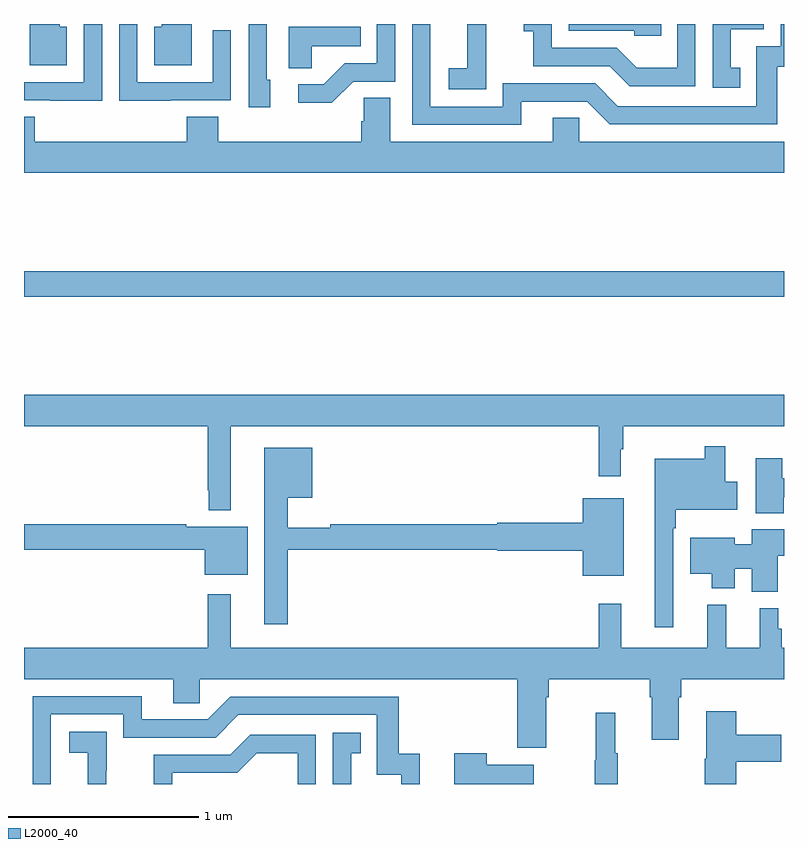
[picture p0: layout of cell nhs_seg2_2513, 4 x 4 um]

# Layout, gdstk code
import gdstk
lib = gdstk.Library(unit=1e-6, precision=1e-09)
def R(c, l, rs):  # rectangles x0, y0, x1, y1
    for r in rs: c.add(gdstk.rectangle(r[:2], r[2:], *l))
def P(c, l, *ps):  # polygons
    for p in ps: c.add(gdstk.Polygon(p, *l))
L2000_40 = (2000, 40)

nhs_seg2_2513 = lib.new_cell('nhs_seg2_2513')
R(nhs_seg2_2513, L2000_40, [(243,600.364,247,600.5)])
P(nhs_seg2_2513, L2000_40, [(246.77,601.569),(246.721,601.569),(246.721,601.773),(246.894,601.773),(246.894,601.8),(246.624,601.8),(246.624,601.464),(246.77,601.464)],
  [(245.433,601.663),(245.432,601.663),(245.432,601.8),(245.334,601.8),(245.334,601.796),(245.333,601.796),(245.333,601.567),(245.235,601.567),(245.235,601.457),(245.433,601.457)],
  [(246.353,601.8),(245.868,601.8),(245.868,601.764),(246.213,601.764),(246.213,601.737),(246.353,601.737)],
  [(244.734,601.497),(244.953,601.497),(244.953,601.8),(244.857,601.8),(244.857,601.593),(244.688,601.593),(244.577,601.482),(244.443,601.482),(244.443,601.385),(244.621,601.385)],
  [(243.773,601.398),(244.089,601.398),(244.089,601.768),(243.993,601.768),(243.993,601.494),(243.597,601.494),(243.597,601.8),(243.501,601.8),(243.501,601.397),(243.773,601.397)],
  [(243.883,601.8),(243.725,601.8),(243.725,601.786),(243.686,601.786),(243.686,601.583),(243.883,601.583)],
  [(243.411,601.8),(243.315,601.8),(243.315,601.494),(243,601.494),(243,601.398),(243.139,601.398),(243.139,601.397),(243.411,601.397)],
  [(243.226,601.786),(243.187,601.786),(243.187,601.8),(243.029,601.8),(243.029,601.583),(243.226,601.583)],
  [(246.534,601.8),(246.438,601.8),(246.438,601.57),(246.224,601.57),(246.12,601.674),(245.778,601.674),(245.778,601.8),(245.631,601.8),(245.631,601.763),(245.68,601.763),(245.68,601.578),(246.083,601.578),(246.188,601.473),(246.534,601.473)],
  [(244.297,601.506),(244.278,601.506),(244.278,601.8),(244.182,601.8),(244.182,601.362),(244.297,601.362)],
  [(245.617,601.392),(245.964,601.392),(246.084,601.272),(246.964,601.272),(246.964,601.575),(247,601.575),(247,601.8),(246.984,601.8),(246.984,601.683),(246.855,601.683),(246.855,601.368),(246.126,601.368),(246.006,601.488),(245.52,601.488),(245.52,601.365),(245.139,601.365),(245.139,601.8),(245.043,601.8),(245.043,601.269),(245.617,601.269)],
  [(244.515,601.682),(244.772,601.682),(244.772,601.786),(244.394,601.786),(244.394,601.567),(244.515,601.567)],
  [(247,601.18),(245.922,601.18),(245.922,601.307),(245.783,601.307),(245.783,601.18),(244.927,601.18),(244.927,601.412),(244.788,601.412),(244.788,601.289),(244.775,601.289),(244.775,601.18),(244.022,601.18),(244.022,601.313),(243.857,601.313),(243.857,601.18),(243.056,601.18),(243.056,601.313),(243,601.313),(243,601.016),(247,601.016)],
  [(244.087,599.684),(246.025,599.684),(246.025,599.421),(246.142,599.421),(246.142,599.561),(246.154,599.561),(246.154,599.684),(247,599.684),(247,599.848),(243,599.848),(243,599.684),(243.966,599.684),(243.966,599.347),(243.972,599.347),(243.972,599.24),(244.087,599.24)],
  [(246.417,599.147),(246.43,599.147),(246.43,599.243),(246.754,599.243),(246.754,599.391),(246.691,599.391),(246.691,599.578),(246.582,599.578),(246.582,599.512),(246.32,599.512),(246.32,598.626),(246.417,598.626)],
  [(244.387,599.032),(245.49,599.032),(245.49,599.027),(245.942,599.027),(245.942,598.895),(246.157,598.895),(246.157,599.305),(245.942,599.305),(245.942,599.174),(245.49,599.174),(245.49,599.168),(244.612,599.168),(244.612,599.149),(244.387,599.149),(244.387,599.306),(244.516,599.306),(244.516,599.569),(244.265,599.569),(244.265,598.641),(244.387,598.641)],
  [(246.999,599.31),(247,599.31),(247,599.409),(246.991,599.409),(246.991,599.515),(246.851,599.515),(246.851,599.225),(246.999,599.225)],
  [(244.177,599.155),(243.854,599.155),(243.854,599.168),(243,599.168),(243,599.032),(243.95,599.032),(243.95,598.901),(244.177,598.901)],
  [(246.967,599.002),(247,599.002),(247,599.14),(246.83,599.14),(246.83,599.062),(246.742,599.062),(246.742,599.095),(246.506,599.095),(246.506,598.907),(246.62,598.907),(246.62,598.829),(246.742,598.829),(246.742,598.933),(246.83,598.933),(246.83,598.811),(246.967,598.811)],
  [(245.749,598.256),(245.762,598.256),(245.762,598.352),(246.293,598.352),(246.293,598.256),(246.305,598.256),(246.305,598.032),(246.445,598.032),(246.445,598.256),(246.458,598.256),(246.458,598.352),(247,598.352),(247,598.516),(246.989,598.516),(246.989,598.617),(246.969,598.617),(246.969,598.726),(246.872,598.726),(246.872,598.516),(246.695,598.516),(246.695,598.744),(246.596,598.744),(246.596,598.516),(246.143,598.516),(246.143,598.75),(246.025,598.75),(246.025,598.516),(244.087,598.516),(244.087,598.798),(243.966,598.798),(243.966,598.516),(243,598.516),(243,598.352),(243.785,598.352),(243.785,598.225),(243.924,598.225),(243.924,598.352),(245.597,598.352),(245.597,597.99),(245.749,597.99)],
  [(243.141,598.167),(243.522,598.167),(243.522,598.044),(244.008,598.044),(244.128,598.164),(244.857,598.164),(244.857,597.849),(244.986,597.849),(244.986,597.8),(245.084,597.8),(245.084,597.958),(244.973,597.958),(244.973,598.26),(244.086,598.26),(243.966,598.14),(243.619,598.14),(243.619,598.263),(243.045,598.263),(243.045,597.8),(243.141,597.8)],
  [(246.749,597.917),(246.985,597.917),(246.985,598.059),(246.749,598.059),(246.749,598.183),(246.59,598.183),(246.59,597.933),(246.583,597.933),(246.583,597.8),(246.749,597.8)],
  [(246.124,597.961),(246.113,597.961),(246.113,598.174),(246.01,598.174),(246.01,597.924),(246.003,597.924),(246.003,597.8),(246.124,597.8)],
  [(243.434,597.869),(243.435,597.869),(243.435,598.075),(243.237,598.075),(243.237,597.965),(243.335,597.965),(243.335,597.8),(243.434,597.8)],
  [(244.723,597.963),(244.772,597.963),(244.772,598.069),(244.626,598.069),(244.626,597.8),(244.723,597.8)],
  [(243.78,597.858),(244.122,597.858),(244.226,597.962),(244.44,597.962),(244.44,597.8),(244.536,597.8),(244.536,598.059),(244.19,598.059),(244.085,597.954),(243.682,597.954),(243.682,597.8),(243.78,597.8)],
  [(245.683,597.901),(245.435,597.901),(245.435,597.961),(245.264,597.961),(245.264,597.8),(245.683,597.8)])

lib.write_gds('nhs_seg2_2513.gds')
